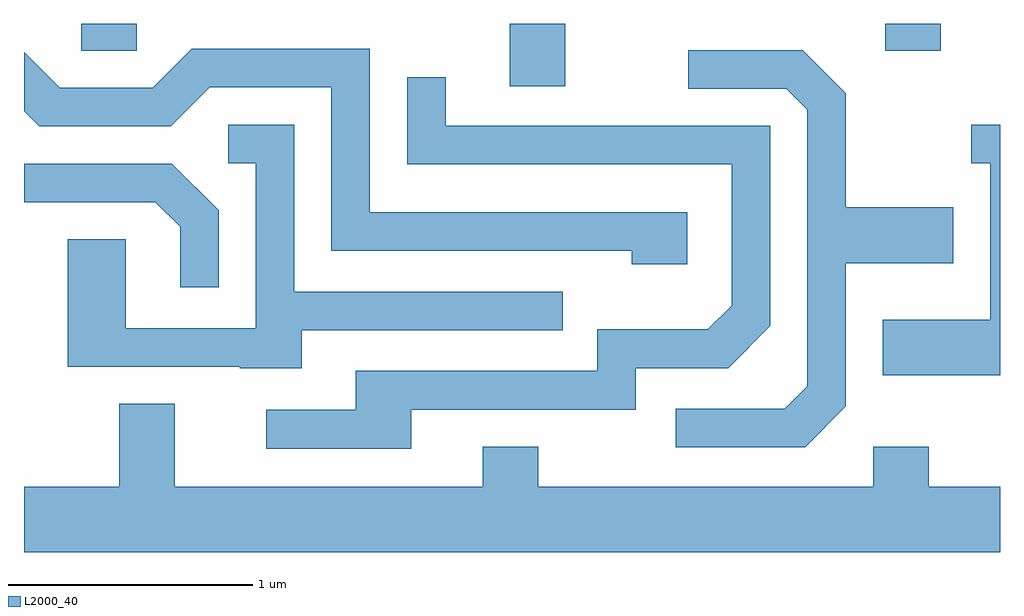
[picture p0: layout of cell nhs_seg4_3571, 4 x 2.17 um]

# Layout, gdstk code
import gdstk
lib = gdstk.Library(unit=1e-6, precision=1e-09)
def R(c, l, rs):  # rectangles x0, y0, x1, y1
    for r in rs: c.add(gdstk.rectangle(r[:2], r[2:], *l))
def P(c, l, *ps):  # polygons
    for p in ps: c.add(gdstk.Polygon(p, *l))
L2000_40 = (2000, 40)

nhs_seg4_3571 = lib.new_cell('nhs_seg4_3571')
R(nhs_seg4_3571, L2000_40, [(291.601,1327.726,291.829,1327.982), (289.846,1327.871,290.074,1327.982), (293.141,1327.871,293.369,1327.982)])
P(nhs_seg4_3571, L2000_40, [(292.329,1327.209),(291.029,1327.209),(291.029,1327.879),(290.299,1327.879),(290.139,1327.719),(289.757,1327.719),(289.611,1327.865),(289.611,1327.624),(289.674,1327.561),(290.212,1327.561),(290.372,1327.721),(290.871,1327.721),(290.871,1327.051),(292.101,1327.051),(292.101,1326.996),(292.329,1326.996)],
  [(292.979,1326.414),(292.979,1327.001),(293.419,1327.001),(293.419,1327.229),(292.979,1327.229),(292.979,1327.697),(292.802,1327.874),(292.333,1327.874),(292.333,1327.716),(292.734,1327.716),(292.821,1327.629),(292.821,1326.497),(292.729,1326.404),(292.283,1326.404),(292.283,1326.246),(292.812,1326.246)],
  [(291.199,1326.401),(292.119,1326.401),(292.119,1326.571),(292.497,1326.571),(292.669,1326.744),(292.669,1327.564),(291.339,1327.564),(291.339,1327.763),(291.181,1327.763),(291.181,1327.406),(292.511,1327.406),(292.511,1326.827),(292.414,1326.729),(291.961,1326.729),(291.961,1326.559),(290.971,1326.559),(290.971,1326.399),(290.603,1326.399),(290.603,1326.241),(291.199,1326.241)],
  [(293.611,1327.569),(293.493,1327.569),(293.493,1327.411),(293.571,1327.411),(293.571,1326.769),(293.131,1326.769),(293.131,1326.541),(293.611,1326.541)],
  [(290.749,1326.726),(291.818,1326.726),(291.818,1326.884),(290.719,1326.884),(290.719,1327.569),(290.448,1327.569),(290.448,1327.411),(290.561,1327.411),(290.561,1326.734),(290.029,1326.734),(290.029,1327.099),(289.791,1327.099),(289.791,1326.576),(290.495,1326.576),(290.495,1326.571),(290.749,1326.571)],
  [(290.409,1327.217),(290.217,1327.409),(289.611,1327.409),(289.611,1327.251),(290.149,1327.251),(290.251,1327.149),(290.251,1326.903),(290.409,1326.903)],
  [(293.611,1326.084),(293.319,1326.084),(293.319,1326.249),(293.091,1326.249),(293.091,1326.084),(291.719,1326.084),(291.719,1326.249),(291.491,1326.249),(291.491,1326.084),(290.229,1326.084),(290.229,1326.424),(290.001,1326.424),(290.001,1326.084),(289.611,1326.084),(289.611,1325.816),(293.611,1325.816)])

lib.write_gds('nhs_seg4_3571.gds')
